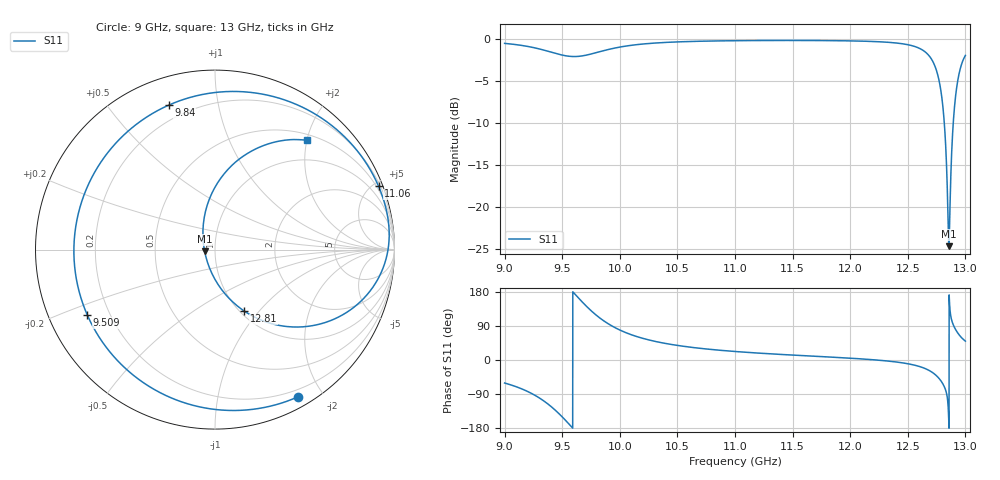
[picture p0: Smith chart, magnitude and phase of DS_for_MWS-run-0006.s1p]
! TOUCHSTONE file generated by CST DESIGN STUDIO
! Date and time: Tue Feb  4 18:43:55 2025
! Project name: C:\Work\MatlabApps\UnitCellOptimizationMatlab\CST\unitcell.cst
! Tree item: Tasks\Sweep1\SPara1\S-Parameters
! Header version: 2024
! Port assignment regex: !\s*Touchstone port\s*([0-9]+)\s*=\s*(CST MWS port|CST DES external port|CST DES block port)\s*(.+)\s* \(\"(.*)\"\)(\s*mode\s*([0-9]+))?.*
! Touchstone port assignment:
! Touchstone port 1 = CST DES external port 1 ("")
# GHz S MA R 50
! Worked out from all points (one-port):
!   4001 points, 9 GHz to 13 GHz, reference 50 ohm
!   lowest |S11| = -24.6 dB at 12.86 GHz (marker M1), VSWR 1.12, Z = 44.5 - j0.788 ohm
!   |S11| at or under -10 dB: 12.82 GHz to 12.89 GHz (77.65 MHz wide, 0.604 % of centre)
!   S11 on the Smith chart (normalised r, x): 9 GHz: 0.12, -1.70; 9.509 GHz: 0.12, -0.24; 9.84 GHz: 0.13, +0.72; 11.06 GHz: 0.34, +5.34; 12.81 GHz: 1.05, -0.84; 13 GHz: 0.60, +2.01
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9  0.9414 -60.7
9.15  0.915 -76.3
9.301  0.8725 -100.0
9.403  0.8352 -122.7
9.5  0.8018 -150.1
9.509  0.7994 -152.9
9.581  0.7869 -176.3
9.651  0.7892 160.4
9.747  0.8127 131.1
9.84  0.8451 107.8
10  0.8947 79.1
10.218  0.9356 55.6
10.5  0.9605 38.5
11  0.9764 22.5
11.059  0.9772 21.1
11.5  0.9797 13.0
12  0.974 4.8
12.5  0.9245 -9.9
12.685  0.7941 -27.6
12.76  0.6112 -44.8
12.807  0.3807 -64.4
12.845  0.1137 -103.9
12.857  0.05858 -171.3
12.868  0.112 127.0
12.892  0.2969 94.9
12.916  0.4644 79.8
12.953  0.6553 63.6
13  0.798 49.8
